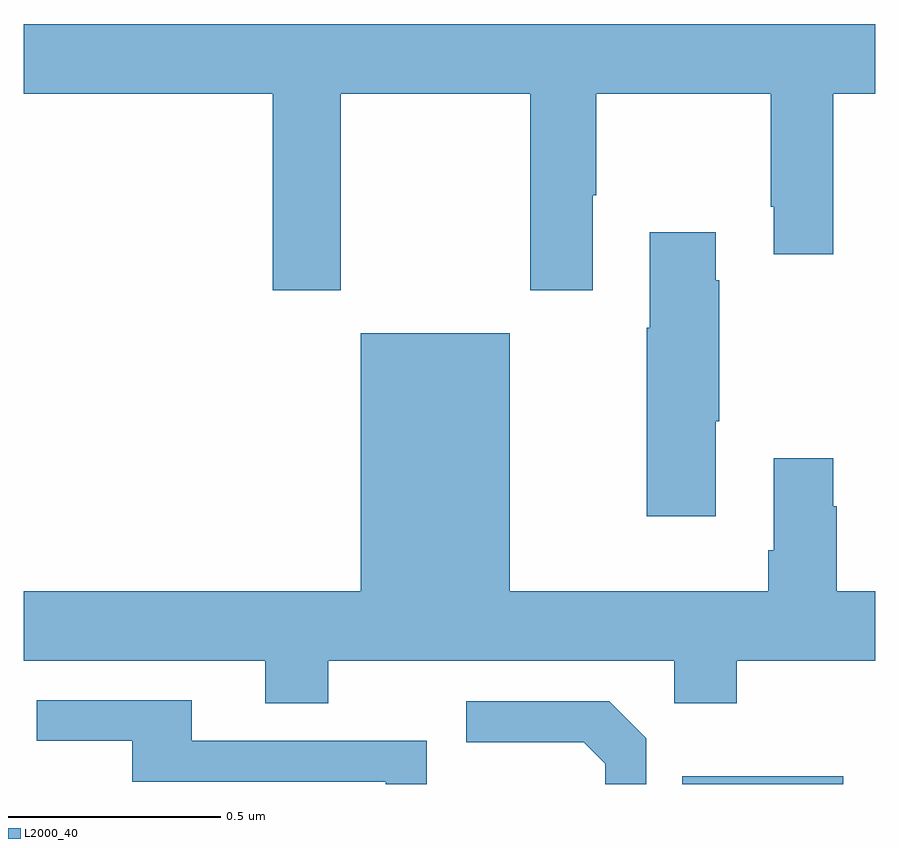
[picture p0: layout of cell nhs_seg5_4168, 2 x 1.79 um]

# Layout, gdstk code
import gdstk
lib = gdstk.Library(unit=1e-6, precision=1e-09)
def R(c, l, rs):  # rectangles x0, y0, x1, y1
    for r in rs: c.add(gdstk.rectangle(r[:2], r[2:], *l))
def P(c, l, *ps):  # polygons
    for p in ps: c.add(gdstk.Polygon(p, *l))
L2000_40 = (2000, 40)

nhs_seg5_4168 = lib.new_cell('nhs_seg5_4168')
R(nhs_seg5_4168, L2000_40, [(168.547,861.799,168.925,861.817)])
P(nhs_seg5_4168, L2000_40, [(167.745,863.42),(168.19,863.42),(168.19,862.959),(168.337,862.959),(168.337,863.182),(168.345,863.182),(168.345,863.42),(168.754,863.42),(168.754,863.155),(168.761,863.155),(168.761,863.043),(168.901,863.043),(168.901,863.42),(169,863.42),(169,863.584),(167,863.584),(167,863.42),(167.585,863.42),(167.585,862.959),(167.745,862.959)],
  [(168.625,862.651),(168.633,862.651),(168.633,862.982),(168.625,862.982),(168.625,863.095),(168.47,863.095),(168.47,862.871),(168.463,862.871),(168.463,862.428),(168.625,862.428)],
  [(167.715,862.088),(168.528,862.088),(168.528,861.989),(168.675,861.989),(168.675,862.088),(169,862.088),(169,862.252),(168.909,862.252),(168.909,862.451),(168.901,862.451),(168.901,862.564),(168.761,862.564),(168.761,862.348),(168.749,862.348),(168.749,862.252),(168.142,862.252),(168.142,862.858),(167.792,862.858),(167.792,862.252),(167,862.252),(167,862.088),(167.567,862.088),(167.567,861.989),(167.715,861.989)],
  [(167.946,861.9),(167.395,861.9),(167.395,861.996),(167.031,861.996),(167.031,861.9),(167.255,861.9),(167.255,861.804),(167.85,861.804),(167.85,861.799),(167.946,861.799)],
  [(168.462,861.906),(168.375,861.993),(168.039,861.993),(168.039,861.897),(168.315,861.897),(168.366,861.846),(168.366,861.799),(168.462,861.799)])

lib.write_gds('nhs_seg5_4168.gds')
